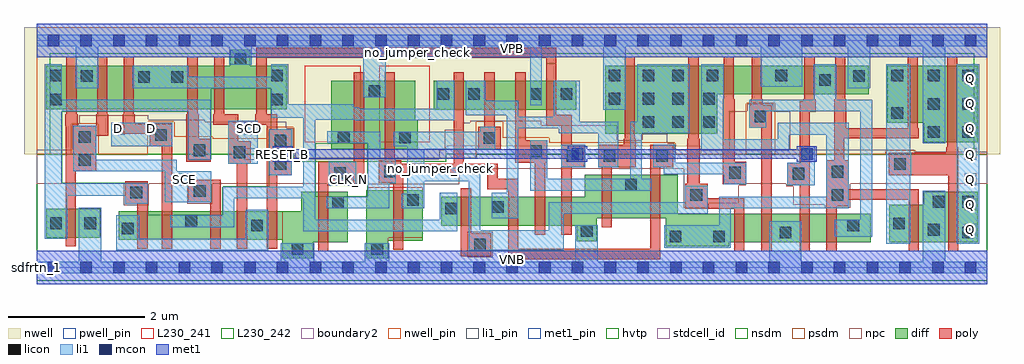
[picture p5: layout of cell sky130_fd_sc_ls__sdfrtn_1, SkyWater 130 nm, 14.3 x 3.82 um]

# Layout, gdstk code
import gdstk
lib = gdstk.Library(unit=1e-6, precision=1e-09)
def R(c, l, rs):  # rectangles x0, y0, x1, y1
    for r in rs: c.add(gdstk.rectangle(r[:2], r[2:], *l))
def A(c, l, x, y, w, h, nx, ny, dx, dy):  # array of equal rectangles
    R(c, l, [(x+i*dx, y+j*dy, x+i*dx+w, y+j*dy+h) for i in range(nx) for j in range(ny)])
def P(c, l, *ps):  # polygons
    for p in ps: c.add(gdstk.Polygon(p, *l))
nwell_pin = (64, 16)
nwell = (64, 20)
diff = (65, 20)
poly = (66, 20)
licon = (66, 44)
li1_pin = (67, 16)
li1 = (67, 20)
mcon = (67, 44)
met1_pin = (68, 16)
met1 = (68, 20)
hvtp = (78, 44)
stdcell_id = (81, 4)
nsdm = (93, 44)
psdm = (94, 20)
npc = (95, 20)
pwell_pin = (122, 16)
L230_241 = (230, 241)
L230_242 = (230, 242)
boundary2 = (236, 0)

sky130_fd_sc_ls__sdfrtn_ = lib.new_cell('sky130_fd_sc_ls__sdfrtn_1')
R(sky130_fd_sc_ls__sdfrtn_, nwell_pin, [(0,3.085,13.92,3.33)])
P(sky130_fd_sc_ls__sdfrtn_, nwell, [(14.11,3.52),(-0.19,3.52),(-0.19,1.66),(3.75,1.66),(3.75,1.555),(5.995,1.555),(5.995,1.78),(9.725,1.78),(9.725,1.66),(14.11,1.66)])
R(sky130_fd_sc_ls__sdfrtn_, diff, [(0.135,0.44,0.925,0.86), (5.81,2.315,7.905,2.735)])
P(sky130_fd_sc_ls__sdfrtn_, diff, [(3.66,2.96),(3.125,2.96),(3.125,3.195),(2.835,3.195),(2.835,2.96),(0.135,2.96),(0.135,2.32),(3.66,2.32)],
  [(4.555,1.11),(3.87,1.11),(3.87,0.825),(1.195,0.825),(1.195,0.405),(3.595,0.405),(3.595,0.135),(4.045,0.135),(4.045,0.37),(4.555,0.37)],
  [(5.58,2.165),(5.54,2.165),(5.54,2.735),(4.31,2.735),(4.31,1.735),(5.58,1.735)],
  [(5.655,1.135),(4.825,1.135),(4.825,0.135),(5.145,0.135),(5.145,0.395),(5.655,0.395)],
  [(12.19,2.96),(8.325,2.96),(8.325,1.96),(9.97,1.96),(9.97,2.54),(12.19,2.54)],
  [(12.215,0.79),(9.385,0.79),(9.385,1.36),(8.025,1.36),(8.025,1.035),(5.925,1.035),(5.925,0.615),(7.91,0.615),(7.91,0.39),(8.2,0.39),(8.2,0.72),(9.21,0.72),(9.21,0.31),(10.14,0.31),(10.14,0.37),(12.215,0.37)],
  [(13.785,2.96),(12.46,2.96),(12.46,2.12),(12.995,2.12),(12.995,1.84),(13.785,1.84)],
  [(13.785,1.11),(12.995,1.11),(12.995,0.92),(12.485,0.92),(12.485,0.37),(13.785,0.37)])
P(sky130_fd_sc_ls__sdfrtn_, poly, [(1.045,2.245),(1.03,2.245),(1.03,3.09),(0.88,3.09),(0.88,2.245),(0.865,2.245),(0.865,2.08),(0.595,2.08),(0.595,2.245),(0.58,2.245),(0.58,3.09),(0.43,3.09),(0.43,2.245),(0.415,2.245),(0.415,2.08),(0.42,2.08),(0.42,0.31),(0.57,0.31),(0.57,1.41),(0.865,1.41),(0.865,1.93),(1.045,1.93)],
  [(1.62,1.265),(1.29,1.265),(1.29,0.935),(1.47,0.935),(1.47,0.275),(1.62,0.275)],
  [(1.98,2.11),(1.435,2.11),(1.435,2.245),(1.42,2.245),(1.42,3.09),(1.27,3.09),(1.27,2.245),(1.255,2.245),(1.255,1.96),(1.65,1.96),(1.65,1.78),(1.83,1.78),(1.83,0.275),(1.98,0.275)],
  [(2.545,1.885),(2.37,1.885),(2.37,2.245),(2.355,2.245),(2.355,3.09),(2.205,3.09),(2.205,2.245),(2.19,2.245),(2.19,1.555),(2.545,1.555)],
  [(2.69,1.285),(2.22,1.285),(2.22,0.955),(2.54,0.955),(2.54,0.275),(2.69,0.275)],
  [(3.13,1.855),(2.95,1.855),(2.95,2.245),(2.745,2.245),(2.745,3.09),(2.595,3.09),(2.595,2.245),(2.58,2.245),(2.58,2.095),(2.8,2.095),(2.8,1.525),(2.93,1.525),(2.93,0.275),(3.08,0.275),(3.08,1.525),(3.13,1.525)],
  [(4.795,2.865),(4.645,2.865),(4.645,1.55),(4.12,1.55),(4.12,0.24),(4.27,0.24),(4.27,1.22),(4.795,1.22)],
  [(6.655,0.505),(6.36,0.505),(6.36,1.165),(6.21,1.165),(6.21,0.165),(6.655,0.165)],
  [(12.92,1.145),(11.895,1.145),(11.895,1.57),(11.83,1.57),(11.83,1.895),(12.92,1.895),(12.92,2.045),(12.905,2.045),(12.905,3.09),(12.755,3.09),(12.755,2.045),(11.86,2.045),(11.86,2.465),(11.845,2.465),(11.845,3.09),(11.695,3.09),(11.695,2.465),(11.68,2.465),(11.68,1.57),(11.565,1.57),(11.565,0.24),(11.715,0.24),(11.715,0.9),(11.895,0.9),(11.895,0.995),(12.77,0.995),(12.77,0.24),(12.92,0.24)],
  [(6.795,2.065),(6.705,2.065),(6.705,2.865),(6.555,2.865),(6.555,2.065),(6.465,2.065),(6.465,1.735),(6.795,1.735)],
  [(7.475,1.87),(7.16,1.87),(7.16,2.865),(7.01,2.865),(7.01,1.54),(7.295,1.54),(7.295,0.485),(7.445,0.485),(7.445,1.54),(7.475,1.54)],
  [(8.015,1.8),(7.835,1.8),(7.835,2.24),(7.61,2.24),(7.61,3.225),(3.215,3.225),(3.215,2.245),(3.2,2.245),(3.2,2.095),(3.37,2.095),(3.37,0.275),(3.52,0.275),(3.52,1.355),(3.735,1.355),(3.735,2.025),(3.52,2.025),(3.52,2.245),(3.365,2.245),(3.365,3.075),(7.46,3.075),(7.46,2.08),(7.685,2.08),(7.685,0.485),(7.835,0.485),(7.835,1.47),(8.015,1.47)],
  [(8.775,1.885),(8.76,1.885),(8.76,3.09),(8.61,3.09),(8.61,1.885),(8.595,1.885),(8.595,1.8),(8.225,1.8),(8.225,1.47),(8.275,1.47),(8.275,0.59),(8.425,0.59),(8.425,1.47),(8.775,1.47)],
  [(13.5,1.765),(13.485,1.765),(13.485,3.09),(13.335,3.09),(13.335,1.765),(13.32,1.765),(13.32,1.685),(12.48,1.685),(12.48,1.355),(13.35,1.355),(13.35,0.24),(13.5,0.24)],
  [(9.32,1.8),(8.985,1.8),(8.985,0.275),(7.055,0.275),(7.055,1.3),(6.75,1.3),(6.75,1.525),(6.255,1.525),(6.255,2.865),(6.105,2.865),(6.105,1.525),(5.335,1.525),(5.335,1.575),(5.245,1.575),(5.245,2.865),(5.095,2.865),(5.095,1.575),(5.005,1.575),(5.005,1.245),(5.22,1.245),(5.22,0.265),(5.37,0.265),(5.37,1.375),(6.6,1.375),(6.6,1.15),(6.905,1.15),(6.905,0.125),(9.135,0.125),(9.135,1.47),(9.32,1.47)],
  [(10.365,1.015),(9.825,1.015),(9.825,1.23),(9.71,1.23),(9.71,1.885),(9.695,1.885),(9.695,3.09),(9.545,3.09),(9.545,1.885),(9.53,1.885),(9.53,1.23),(9.495,1.23),(9.495,0.865),(10.215,0.865),(10.215,0.24),(10.365,0.24)],
  [(10.395,1.555),(10.225,1.555),(10.225,2.465),(10.21,2.465),(10.21,3.09),(10.06,3.09),(10.06,2.465),(10.045,2.465),(10.045,1.225),(10.395,1.225)],
  [(10.765,2.38),(10.635,2.38),(10.635,2.465),(10.62,2.465),(10.62,3.09),(10.47,3.09),(10.47,2.465),(10.455,2.465),(10.455,2.38),(10.435,2.38),(10.435,2.05),(10.615,2.05),(10.615,0.24),(10.765,0.24)],
  [(11.41,2.465),(11.395,2.465),(11.395,3.09),(11.245,3.09),(11.245,2.465),(11.23,2.465),(11.23,2.435),(11.175,2.435),(11.175,1.54),(10.995,1.54),(10.995,1.21),(11.175,1.21),(11.175,0.24),(11.325,0.24),(11.325,2.285),(11.41,2.285)])
A(sky130_fd_sc_ls__sdfrtn_, licon, 13.055, 1.9, 0.17, 0.17, 1, 3, 0, 0.415)
A(sky130_fd_sc_ls__sdfrtn_, licon, 13.555, 1.9, 0.17, 0.17, 1, 3, 0, 0.415)
A(sky130_fd_sc_ls__sdfrtn_, licon, 8.875, 2.05, 0.17, 0.17, 1, 3, 0, 0.34)
A(sky130_fd_sc_ls__sdfrtn_, licon, 9.31, 2.05, 0.17, 0.17, 1, 3, 0, 0.34)
R(sky130_fd_sc_ls__sdfrtn_, licon, [(3.735,0.19,3.905,0.36), (4.9,0.19,5.07,0.36), (6.405,0.255,6.575,0.425), (9.27,0.37,9.44,0.54), (9.91,0.37,10.08,0.54), (10.88,0.43,11.05,0.6), (13.555,0.43,13.725,0.6), (7.97,0.45,8.14,0.62), (13.055,0.47,13.225,0.64), (1.245,0.49,1.415,0.66), (3.14,0.53,3.31,0.7), (11.875,0.53,12.045,0.7), (12.545,0.56,12.715,0.73), (0.195,0.565,0.365,0.735), (0.695,0.565,0.865,0.735), (2.175,0.595,2.345,0.765), (5.985,0.78,6.155,0.95), (6.67,0.805,6.84,0.975), (4.325,0.87,4.495,1.04), (13.125,0.88,13.295,1.05), (13.555,0.88,13.725,1.05), (5.425,0.905,5.595,1.075), (9.575,0.98,9.745,1.15), (11.645,0.98,11.815,1.15), (1.37,1.015,1.54,1.185), (2.3,1.035,2.47,1.205), (8.62,1.13,8.79,1.3), (11.075,1.29,11.245,1.46), (4.355,1.3,4.525,1.47), (10.145,1.305,10.315,1.475), (11.645,1.32,11.815,1.49), (5.085,1.325,5.255,1.495), (3.485,1.435,3.655,1.605), (12.56,1.435,12.73,1.605), (0.615,1.49,0.785,1.66), (7.765,1.55,7.935,1.72), (8.305,1.55,8.475,1.72), (9.07,1.55,9.24,1.72), (2.88,1.605,3.05,1.775), (7.225,1.62,7.395,1.79), (2.295,1.635,2.465,1.805), (3.485,1.775,3.655,1.945), (6.545,1.815,6.715,1.985), (4.41,1.82,4.58,1.99), (5.31,1.82,5.48,1.99), (0.615,1.83,0.785,2), (1.73,1.86,1.9,2.03), (9.76,2.05,9.93,2.22), (10.515,2.13,10.685,2.3), (12.52,2.18,12.69,2.35), (0.195,2.38,0.365,2.55), (3.43,2.38,3.6,2.55), (8.375,2.39,8.545,2.56), (9.76,2.39,9.93,2.56), (5.87,2.46,6.04,2.63), (6.32,2.46,6.49,2.63), (7.225,2.46,7.395,2.63), (7.675,2.46,7.845,2.63), (4.86,2.5,5.03,2.67), (11.46,2.665,11.63,2.835), (1.485,2.71,1.655,2.88), (1.97,2.71,2.14,2.88), (0.645,2.72,0.815,2.89), (11.96,2.72,12.13,2.89), (0.195,2.73,0.365,2.9), (3.43,2.73,3.6,2.9), (8.375,2.73,8.545,2.9), (9.815,2.73,9.985,2.9), (10.82,2.73,10.99,2.9), (12.52,2.73,12.69,2.9), (2.895,2.97,3.065,3.14)])
A(sky130_fd_sc_ls__sdfrtn_, li1_pin, 13.595, 0.47, 0.17, 0.17, 1, 7, 0, 0.37)
R(sky130_fd_sc_ls__sdfrtn_, li1_pin, [(2.075,1.21,2.245,1.38), (4.475,1.21,4.645,1.38), (3.035,1.58,3.205,1.75), (1.115,1.95,1.285,2.12), (1.595,1.95,1.765,2.12), (3.035,1.95,3.205,2.12)])
R(sky130_fd_sc_ls__sdfrtn_, li1, [(13.475,0.35,13.805,2.98), (4.275,1.21,4.675,1.55), (3.405,1.355,3.735,2.025), (7.685,1.47,8.035,1.8), (2.8,1.525,3.235,2.15), (1.085,1.78,1.98,2.12)])
P(sky130_fd_sc_ls__sdfrtn_, li1, [(2.545,2.46),(0.365,2.46),(0.365,2.98),(0.115,2.98),(0.115,0.42),(0.445,0.42),(0.445,1.05),(1.29,1.05),(1.29,0.935),(1.62,0.935),(1.62,1.24),(0.365,1.24),(0.365,2.29),(2.215,2.29),(2.215,1.58),(2.545,1.58)],
  [(2.55,1.41),(2.045,1.41),(2.045,1.58),(0.865,1.58),(0.865,2.08),(0.535,2.08),(0.535,1.41),(1.875,1.41),(1.875,0.955),(2.55,0.955)],
  [(3.39,0.845),(3.06,0.845),(3.06,0.425),(1.495,0.425),(1.495,0.765),(1.165,0.765),(1.165,0.255),(3.39,0.255)],
  [(13.92,0.085),(13.305,0.085),(13.305,1.13),(12.975,1.13),(12.975,0.085),(11.2,0.085),(11.2,0.68),(10.73,0.68),(10.73,0.085),(8.22,0.085),(8.22,0.62),(7.89,0.62),(7.89,0.085),(5.165,0.085),(5.165,0.36),(4.805,0.36),(4.805,0.085),(4.065,0.085),(4.065,0.36),(3.575,0.36),(3.575,0.085),(0.945,0.085),(0.945,0.88),(0.615,0.88),(0.615,0.085),(0,0.085),(0,-0.085),(13.92,-0.085)],
  [(12.81,1.685),(12.795,1.685),(12.795,2.98),(12.44,2.98),(12.44,0.35),(12.795,0.35),(12.795,1.355),(12.81,1.355)],
  [(12.235,2.46),(11.71,2.46),(11.71,2.98),(11.38,2.98),(11.38,2.46),(10.435,2.46),(10.435,2.05),(10.685,2.05),(10.685,2.29),(12.065,2.29),(12.065,0.7),(11.69,0.7),(11.69,0.45),(12.235,0.45)],
  [(11.895,2.12),(10.855,2.12),(10.855,1.88),(10.065,1.88),(10.065,2.98),(9.735,2.98),(9.735,1.71),(11.025,1.71),(11.025,1.95),(11.565,1.95),(11.565,1.04),(9.995,1.04),(9.995,0.62),(9.19,0.62),(9.19,0.29),(10.165,0.29),(10.165,0.87),(11.895,0.87)],
  [(11.395,1.78),(11.195,1.78),(11.195,1.54),(10.995,1.54),(10.995,1.21),(11.395,1.21)],
  [(13.92,3.415),(0,3.415),(0,3.245),(0.565,3.245),(0.565,2.63),(0.895,2.63),(0.895,3.245),(2.815,3.245),(2.815,2.97),(3.145,2.97),(3.145,3.245),(4.78,3.245),(4.78,2.5),(5.11,2.5),(5.11,3.245),(7.225,3.245),(7.225,2.38),(7.395,2.38),(7.395,3.245),(8.295,3.245),(8.295,2.31),(8.625,2.31),(8.625,3.245),(10.605,3.245),(10.605,2.65),(11.21,2.65),(11.21,3.245),(11.88,3.245),(11.88,2.63),(12.21,2.63),(12.21,3.245),(12.975,3.245),(12.975,1.82),(13.305,1.82),(13.305,3.245),(13.92,3.245)],
  [(5.255,1.605),(5.03,1.605),(5.03,1.99),(4.6,1.99),(4.6,2),(4.255,2),(4.255,1.82),(4.845,1.82),(4.845,1.04),(4.245,1.04),(4.245,0.87),(5.165,0.87),(5.165,1.235),(5.255,1.235)],
  [(6.155,1.095),(5.905,1.095),(5.905,0.7),(4.075,0.7),(4.075,2.17),(4.66,2.17),(4.66,2.16),(6.115,2.16),(6.115,2.735),(5.855,2.735),(5.855,2.33),(4.72,2.33),(4.72,2.34),(4.7,2.34),(4.7,2.35),(4.645,2.35),(4.645,2.395),(3.68,2.395),(3.68,2.98),(3.43,2.98),(3.43,2.8),(2.22,2.8),(2.22,2.96),(1.405,2.96),(1.405,2.63),(3.43,2.63),(3.43,2.195),(3.905,2.195),(3.905,1.185),(2.72,1.185),(2.72,0.765),(1.955,0.765),(1.955,0.595),(2.89,0.595),(2.89,1.015),(3.905,1.015),(3.905,0.53),(6.155,0.53)],
  [(8.52,2.14),(7.95,2.14),(7.95,2.735),(7.575,2.735),(7.575,2.21),(7.055,2.21),(7.055,2.445),(6.57,2.445),(6.57,2.735),(6.285,2.735),(6.285,2.235),(6.885,2.235),(6.885,1.095),(6.665,1.095),(6.665,0.725),(7.055,0.725),(7.055,2.04),(7.645,2.04),(7.645,1.97),(8.225,1.97),(8.225,1.47),(8.52,1.47)],
  [(9.565,2.98),(8.795,2.98),(8.795,2.14),(8.69,2.14),(8.69,1.3),(7.475,1.3),(7.475,1.87),(7.225,1.87),(7.225,1.13),(9.01,1.13),(9.01,1.3),(8.86,1.3),(8.86,1.97),(9.565,1.97)],
  [(9.825,1.2),(9.495,1.2),(9.495,0.96),(7.495,0.96),(7.495,0.545),(6.495,0.545),(6.495,1.465),(5.675,1.465),(5.675,1.735),(6.715,1.735),(6.715,2.065),(6.495,2.065),(6.495,1.99),(5.23,1.99),(5.23,1.775),(5.425,1.775),(5.425,1.085),(5.345,1.085),(5.345,0.87),(5.675,0.87),(5.675,1.265),(6.325,1.265),(6.325,0.255),(7.72,0.255),(7.72,0.79),(9.825,0.79)],
  [(10.395,1.54),(9.35,1.54),(9.35,1.8),(9.03,1.8),(9.03,1.47),(9.18,1.47),(9.18,1.37),(10.065,1.37),(10.065,1.225),(10.395,1.225)])
A(sky130_fd_sc_ls__sdfrtn_, mcon, 0.155, -0.085, 0.17, 0.17, 29, 2, 0.48, 3.33)
R(sky130_fd_sc_ls__sdfrtn_, mcon, [(3.515,1.58,3.685,1.75), (7.835,1.58,8.005,1.75), (11.195,1.58,11.365,1.75)])
R(sky130_fd_sc_ls__sdfrtn_, met1_pin, [(0,0,13.92,0.245), (3.515,1.58,3.685,1.75), (0,3.085,13.92,3.33)])
R(sky130_fd_sc_ls__sdfrtn_, met1, [(0,-0.245,13.92,0.245), (0,3.085,13.92,3.575)])
P(sky130_fd_sc_ls__sdfrtn_, met1, [(11.425,1.78),(11.135,1.78),(11.135,1.735),(8.065,1.735),(8.065,1.78),(7.775,1.78),(7.775,1.735),(3.745,1.735),(3.745,1.78),(3.455,1.78),(3.455,1.55),(3.745,1.55),(3.745,1.595),(7.775,1.595),(7.775,1.55),(8.065,1.55),(8.065,1.595),(11.135,1.595),(11.135,1.55),(11.425,1.55)])
P(sky130_fd_sc_ls__sdfrtn_, hvtp, [(13.73,3.14),(0.19,3.14),(0.19,1.66),(3.75,1.66),(3.75,1.555),(5.995,1.555),(5.995,1.66),(13.73,1.66)])
R(sky130_fd_sc_ls__sdfrtn_, stdcell_id, [(0,0,13.92,3.33)])
P(sky130_fd_sc_ls__sdfrtn_, nsdm, [(13.92,1.66),(6.435,1.66),(6.435,1.605),(3.765,1.605),(3.765,1.66),(0,1.66),(0,-0.19),(13.92,-0.19)])
P(sky130_fd_sc_ls__sdfrtn_, psdm, [(13.92,3.52),(0,3.52),(0,1.66),(0.505,1.66),(0.505,2.11),(0.895,2.11),(0.895,1.66),(1.62,1.66),(1.62,2.14),(2.01,2.14),(2.01,1.915),(2.575,1.915),(2.575,1.885),(3.375,1.885),(3.375,2.055),(3.765,2.055),(3.765,1.605),(6.435,1.605),(6.435,2.135),(6.825,2.135),(6.825,1.9),(7.505,1.9),(7.505,1.83),(9.35,1.83),(9.35,1.66),(10.395,1.66),(10.395,2.41),(10.81,2.41),(10.81,1.66),(12.435,1.66),(12.435,1.715),(12.875,1.715),(12.875,1.66),(13.92,1.66)])
R(sky130_fd_sc_ls__sdfrtn_, npc, [(6.305,0.155,6.675,0.525)])
P(sky130_fd_sc_ls__sdfrtn_, npc, [(13.92,1.7),(12.855,1.7),(12.855,1.73),(11.04,1.73),(11.04,2.295),(10.785,2.295),(10.785,2.4),(10.405,2.4),(10.405,2.295),(10.14,2.295),(10.14,1.73),(9.34,1.73),(9.34,1.82),(9.235,1.82),(9.235,1.96),(8.865,1.96),(8.865,1.87),(8.505,1.87),(8.505,2.085),(7.39,2.085),(7.39,2.155),(6.345,2.155),(6.345,2.125),(6.24,2.125),(6.24,2.02),(5.975,2.02),(5.975,1.73),(5.895,1.73),(5.895,1.595),(3.79,1.595),(3.79,1.73),(3.755,1.73),(3.755,2.045),(3.65,2.045),(3.65,2.14),(2.46,2.14),(2.46,2.17),(1.63,2.17),(1.63,2.23),(0.62,2.23),(0.62,2.1),(0.515,2.1),(0.515,1.73),(0,1.73),(0,1.23),(1.27,1.23),(1.27,0.915),(1.64,0.915),(1.64,1.23),(2.2,1.23),(2.2,0.935),(2.57,0.935),(2.57,1.23),(4.255,1.23),(4.255,1.2),(4.735,1.2),(4.735,1.225),(6.19,1.225),(6.19,1.45),(9.475,1.45),(9.475,0.88),(9.845,0.88),(9.845,0.94),(10.28,0.94),(10.28,1.205),(10.385,1.205),(10.385,1.23),(10.975,1.23),(10.975,1.19),(11.08,1.19),(11.08,0.925),(11.545,0.925),(11.545,0.88),(11.915,0.88),(11.915,1.23),(13.92,1.23)])
R(sky130_fd_sc_ls__sdfrtn_, pwell_pin, [(0,0,13.92,0.245)])
R(sky130_fd_sc_ls__sdfrtn_, L230_241, [(4.275,1.21,4.675,1.55), (2.8,1.525,3.235,2.15), (1.085,1.78,1.98,2.12), (3.925,1.84,4.745,2.96), (5.015,1.84,5.755,2.96)])
P(sky130_fd_sc_ls__sdfrtn_, L230_241, [(4.555,1.11),(3.87,1.11),(3.87,0.825),(3.595,0.825),(3.595,0.135),(4.045,0.135),(4.045,0.37),(4.555,0.37)],
  [(2.55,1.41),(2.045,1.41),(2.045,1.58),(0.865,1.58),(0.865,2.08),(0.535,2.08),(0.535,1.41),(1.875,1.41),(1.875,0.955),(2.55,0.955)],
  [(5.655,1.18),(4.825,1.18),(4.825,0.135),(5.145,0.135),(5.145,0.44),(5.655,0.44)],
  [(4.845,1.82),(4.675,1.82),(4.675,1.21),(4.275,1.21),(4.275,1.55),(4.675,1.55),(4.675,1.82),(4.075,1.82),(4.075,1.04),(4.845,1.04)])
R(sky130_fd_sc_ls__sdfrtn_, L230_242, [(4.075,1.04,4.845,1.82)])
P(sky130_fd_sc_ls__sdfrtn_, L230_242, [(7.61,3.225),(3.215,3.225),(3.215,3.075),(7.46,3.075),(7.46,2.99),(7.61,2.99)],
  [(3.405,2.025),(3.43,2.025),(3.43,2.63),(2.545,2.63),(2.545,1.58),(2.215,1.58),(2.215,2.29),(0.365,2.29),(0.365,1.24),(1.62,1.24),(1.62,0.765),(2.72,0.765),(2.72,1.185),(3.405,1.185)])
R(sky130_fd_sc_ls__sdfrtn_, boundary2, [(0,0,13.92,3.33)])
sky130_fd_sc_ls__sdfrtn_.add(gdstk.Label('no_jumper_check', (5.91,1.45), layer=83, texttype=44))
sky130_fd_sc_ls__sdfrtn_.add(gdstk.Label('no_jumper_check', (5.57,3.15), layer=83, texttype=44))
sky130_fd_sc_ls__sdfrtn_.add(gdstk.Label('sdfrtn_1', (0,0), layer=83, texttype=44))
sky130_fd_sc_ls__sdfrtn_.add(gdstk.Label('VNB', (6.96,0.123), layer=64, texttype=59))
sky130_fd_sc_ls__sdfrtn_.add(gdstk.Label('VPB', (6.96,3.208), layer=64, texttype=5))
sky130_fd_sc_ls__sdfrtn_.add(gdstk.Label('RESET_B', (3.6,1.665), layer=68, texttype=5))
sky130_fd_sc_ls__sdfrtn_.add(gdstk.Label('VPWR', (6.96,3.208), layer=68, texttype=5))
sky130_fd_sc_ls__sdfrtn_.add(gdstk.Label('VGND', (6.96,0.123), layer=68, texttype=5))
sky130_fd_sc_ls__sdfrtn_.add(gdstk.Label('Q', (13.68,0.555), layer=67, texttype=5))
sky130_fd_sc_ls__sdfrtn_.add(gdstk.Label('Q', (13.68,0.925), layer=67, texttype=5))
sky130_fd_sc_ls__sdfrtn_.add(gdstk.Label('Q', (13.68,1.295), layer=67, texttype=5))
sky130_fd_sc_ls__sdfrtn_.add(gdstk.Label('Q', (13.68,1.665), layer=67, texttype=5))
sky130_fd_sc_ls__sdfrtn_.add(gdstk.Label('Q', (13.68,2.035), layer=67, texttype=5))
sky130_fd_sc_ls__sdfrtn_.add(gdstk.Label('Q', (13.68,2.405), layer=67, texttype=5))
sky130_fd_sc_ls__sdfrtn_.add(gdstk.Label('Q', (13.68,2.775), layer=67, texttype=5))
sky130_fd_sc_ls__sdfrtn_.add(gdstk.Label('CLK_N', (4.56,1.295), layer=67, texttype=5))
sky130_fd_sc_ls__sdfrtn_.add(gdstk.Label('SCD', (3.12,1.665), layer=67, texttype=5))
sky130_fd_sc_ls__sdfrtn_.add(gdstk.Label('SCD', (3.12,2.035), layer=67, texttype=5))
sky130_fd_sc_ls__sdfrtn_.add(gdstk.Label('SCE', (2.16,1.295), layer=67, texttype=5))
sky130_fd_sc_ls__sdfrtn_.add(gdstk.Label('D', (1.2,2.035), layer=67, texttype=5))
sky130_fd_sc_ls__sdfrtn_.add(gdstk.Label('D', (1.68,2.035), layer=67, texttype=5))

lib.write_gds('sky130_fd_sc_ls__sdfrtn_1.gds')
